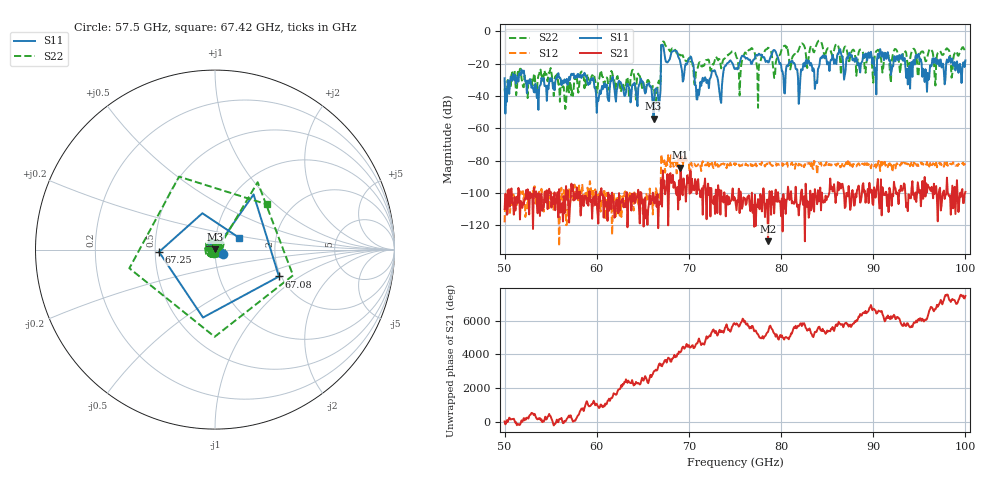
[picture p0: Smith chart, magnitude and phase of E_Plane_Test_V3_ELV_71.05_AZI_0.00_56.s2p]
! 11/26/2026 4:37:12 PM
! C:\ANRITSUVNA\TEMP\TEMP.S2P
! CHANNEL.1
! TR.MEASUREMENT
! RAW.DATA
# HZ S RI R 50.0
! FREQ.HZ  S11RE  S11IM  S21RE  S21IM  S12RE  S12IM  S22RE  S22IM
!; PortSelection: Port_12
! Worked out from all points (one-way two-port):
!   601 points, 50 GHz to 100 GHz, reference 50 ohm
!   highest |S21| = -84.44 dB at 69.08 GHz (marker M1); lowest = -130.0 dB at 78.58 GHz (marker M2)
!   lowest |S11| = -53.9 dB at 66.17 GHz (marker M3), VSWR 1.00, Z = 50.1 + j0.146 ohm
!   |S11| at or under -10 dB: start of sweep to 67 GHz; 67.24 GHz to end of sweep
!   |S22| runs from -48.0 to -5.6 dB; largest |S21 - S12| = 0.00018
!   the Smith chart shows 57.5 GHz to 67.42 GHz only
!   S11 on the Smith chart (normalised r, x): 57.5 GHz: 1.09, -0.05; 67.08 GHz: 1.95, -0.69; 67.25 GHz: 0.52, -0.02; 67.42 GHz: 1.29, +0.18
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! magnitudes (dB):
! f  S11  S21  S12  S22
! 50 GHz  -29.0  -110.1  -118.3  -35.4
! 57.5 GHz  -26.2  -104.7  -102.0  -34.7
! 58.42 GHz  -27.1  -101.5  -94.5  -24.8
! 60.17 GHz  -43.0  -119.0  -100.9  -30.3
! 66.17 GHz  -53.9  -101.9  -102.6  -34.0
! 66.67 GHz  -41.4  -121.9  -106.5  -31.6
! 67.08 GHz  -8.3  -108.5  -79.2  -6.8
! 67.25 GHz  -10.1  -97.1  -81.6  -6.2
! 67.42 GHz  -16.6  -100.9  -87.5  -8.3
! 69.08 GHz  -19.5  -84.4  -78.5  -14.9
! 70.25 GHz  -16.0  -99.8  -81.3  -18.7
! 70.92 GHz  -42.1  -95.6  -83.2  -23.2
! 75 GHz  -23.3  -103.3  -82.8  -13.0
! 77.58 GHz  -13.8  -107.4  -82.3  -21.7
! 78.58 GHz  -19.2  -130.0  -82.7  -10.1
! 79.33 GHz  -11.8  -102.6  -81.8  -28.8
! 80.25 GHz  -27.9  -100.7  -82.0  -9.4
! 83.42 GHz  -24.5  -100.6  -84.7  -10.8
! 91.67 GHz  -16.8  -111.9  -82.1  -15.2
! 94.83 GHz  -15.0  -93.4  -82.2  -27.9
! 95.83 GHz  -37.4  -99.7  -80.9  -16.5
! 100 GHz  -17.9  -99.4  -83.2  -12.5
